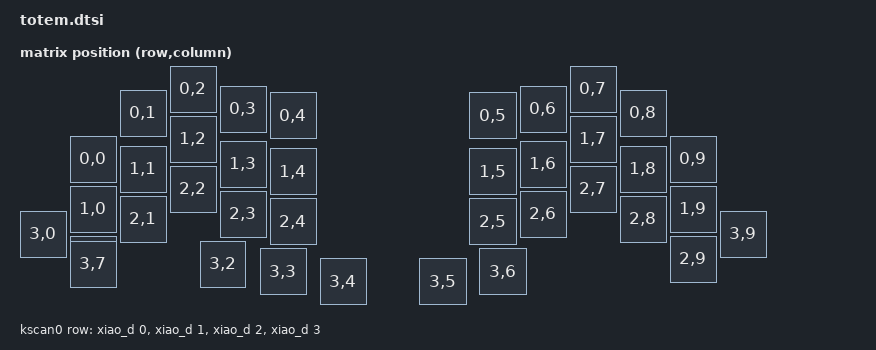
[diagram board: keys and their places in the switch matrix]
/*
 * Copyright (c) 2022 The ZMK Contributors
 *
 * SPDX-License-Identifier: MIT
 */

#include <dt-bindings/zmk/matrix_transform.h>
#include <physical_layouts.dtsi>
/ {
    chosen {
        zmk,kscan = &kscan0;
        // zmk,matrix_transform = &default_transform;
    };

    default_transform: keymap_transform_0 {
        compatible = "zmk,matrix-transform";
        columns = <10>;
        rows = <4>;
//             | SW01  | SW02  | SW03  | SW04  | SW05  |  | SW05  | SW04  | SW03  | SW02  | SW01  |
//             | SW06  | SW07  | SW08  | SW09  | SW10  |  | SW10  | SW09  | SW08  | SW07  | SW06  |
//      | SW16 | SW11  | SW12  | SW13  | SW14  | SW15  |  | SW15  | SW14  | SW13  | SW12  | SW11  | SW16  |
//                             | SW17  | SW18  | SW19  |  | SW19  | SW18  | SW17  |
        map = <
                RC(0,0) RC(0,1) RC(0,2) RC(0,3) RC(0,4)    RC(0,5) RC(0,6) RC(0,7) RC(0,8) RC(0,9)
                RC(1,0) RC(1,1) RC(1,2) RC(1,3) RC(1,4)    RC(1,5) RC(1,6) RC(1,7) RC(1,8) RC(1,9)
        RC(3,0) RC(2,0) RC(2,1) RC(2,2) RC(2,3) RC(2,4)    RC(2,5) RC(2,6) RC(2,7) RC(2,8) RC(2,9) RC(3,9)
                                RC(3,2) RC(3,3) RC(3,4)    RC(3,5) RC(3,6) RC(3,7)
        >;
    };

       default_layout: default_layout {
        compatible = "zmk,physical-layout";
        display-name = "Default Layout";
        transform = <&default_transform>;
        kscan = <&kscan0>;
        keys =<&key_physical_attrs 100 100 100 140 0 0 0>
            , <&key_physical_attrs 100 100 200 060 0 0 0>
            , <&key_physical_attrs 100 100 300 000 0 0 0>
            , <&key_physical_attrs 100 100 400 050 0 0 0>
            , <&key_physical_attrs 100 100 500 065 0 0 0>
            , <&key_physical_attrs 100 100 900 065 0 0 0>
            , <&key_physical_attrs 100 100 1000 050 0 0 0>
            , <&key_physical_attrs 100 100 1100 000 0 0 0>
            , <&key_physical_attrs 100 100 1200 060 0 0 0>
            , <&key_physical_attrs 100 100 1300 140 0 0 0>
            , <&key_physical_attrs 100 100 100 240 0 0 0>
            , <&key_physical_attrs 100 100 200 160 0 0 0>
            , <&key_physical_attrs 100 100 300 100 0 0 0>
            , <&key_physical_attrs 100 100 400 150 0 0 0>
            , <&key_physical_attrs 100 100 500 165 0 0 0>
            , <&key_physical_attrs 100 100 900 165 0 0 0>
            , <&key_physical_attrs 100 100 1000 150 0 0 0>
            , <&key_physical_attrs 100 100 1100 100 0 0 0>
            , <&key_physical_attrs 100 100 1200 160 0 0 0>
            , <&key_physical_attrs 100 100 1300 240 0 0 0>
            , <&key_physical_attrs 100 100 000 290 0 0 0>
            , <&key_physical_attrs 100 100 100 340 0 0 0>
            , <&key_physical_attrs 100 100 200 260 0 0 0>
            , <&key_physical_attrs 100 100 300 200 0 0 0>
            , <&key_physical_attrs 100 100 400 250 0 0 0>
            , <&key_physical_attrs 100 100 500 265 0 0 0>
            , <&key_physical_attrs 100 100 900 265 0 0 0>
            , <&key_physical_attrs 100 100 1000 250 0 0 0>
            , <&key_physical_attrs 100 100 1100 200 0 0 0>
            , <&key_physical_attrs 100 100 1200 260 0 0 0>
            , <&key_physical_attrs 100 100 1300 340 0 0 0>
            , <&key_physical_attrs 100 100 1400 290 0 0 0>
            , <&key_physical_attrs 100 100 360 350 0 0 0>
            , <&key_physical_attrs 100 100 480 365 0 0 0>
            , <&key_physical_attrs 100 100 600 385 0 0 0>
            , <&key_physical_attrs 100 100 800 385 0 0 0>
            , <&key_physical_attrs 100 100 920 365 0 0 0>
            , <&key_physical_attrs 100 100 100 350 0 0 0>
        ;};
    physical_layout0 {
    kscan = <&kscan0>; // Label of the kscan node this layout uses
    transform = <&default_transform>; // Label of the matrix transform this layout uses
};
   chosen {
        zmk,physical-layout = &default_layout;
    };

    kscan0: kscan_0 {
        compatible = "zmk,kscan-gpio-matrix";
        label = "KSCAN";

        diode-direction = "col2row";
        row-gpios
            = <&xiao_d 0 (GPIO_ACTIVE_HIGH | GPIO_PULL_DOWN)>
            , <&xiao_d 1 (GPIO_ACTIVE_HIGH | GPIO_PULL_DOWN)>
            , <&xiao_d 2 (GPIO_ACTIVE_HIGH | GPIO_PULL_DOWN)>
            , <&xiao_d 3 (GPIO_ACTIVE_HIGH | GPIO_PULL_DOWN)>
            ;
    };
};
